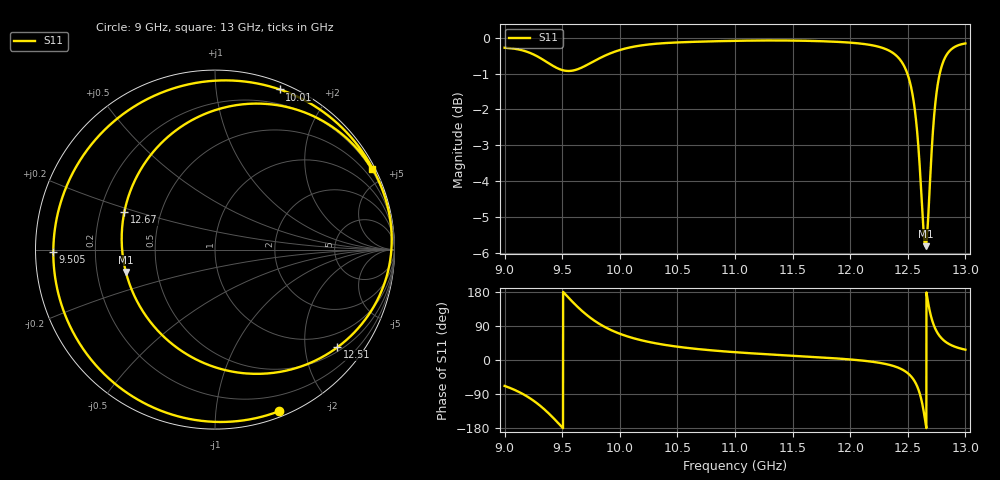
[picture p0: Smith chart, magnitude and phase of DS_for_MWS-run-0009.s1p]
! TOUCHSTONE file generated by CST DESIGN STUDIO
! Date and time: Tue Feb  4 13:14:57 2025
! Project name: C:\Work\MatlabApps\UnitCellOptimizationMatlab\CST\unitcell.cst
! Tree item: Tasks\Sweep1\SPara1\S-Parameters
! Header version: 2024
! Port assignment regex: !\s*Touchstone port\s*([0-9]+)\s*=\s*(CST MWS port|CST DES external port|CST DES block port)\s*(.+)\s* \(\"(.*)\"\)(\s*mode\s*([0-9]+))?.*
! Touchstone port assignment:
! Touchstone port 1 = CST DES external port 1 ("")
# GHz S MA R 50
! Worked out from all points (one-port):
!   4001 points, 9 GHz to 13 GHz, reference 50 ohm
!   lowest |S11| = -5.8 dB at 12.65 GHz (marker M1), VSWR 3.10, Z = 16.4 - j5.52 ohm
!   |S11| at or under -10 dB: nowhere
!   S11 on the Smith chart (normalised r, x): 9 GHz: 0.05, -1.47; 9.505 GHz: 0.05, -0.01; 10.01 GHz: 0.06, +1.48; 12.51 GHz: 0.60, -2.74; 12.67 GHz: 0.30, +0.18; 13 GHz: 0.16, +4.12
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9  0.9685 -68.4
9.166  0.9592 -91.0
9.281  0.9425 -114.1
9.382  0.9215 -140.6
9.5  0.9014 -177.7
9.505  0.901 -179.3
9.623  0.9026 143.3
9.725  0.9181 115.9
9.841  0.9392 92.0
10  0.9613 69.3
10.011  0.9624 68.0
10.222  0.9774 49.6
10.5  0.985 35.1
11  0.9901 20.6
11.5  0.9909 11.2
12  0.9844 1.4
12.35  0.9571 -13.6
12.5  0.8875 -34.8
12.514  0.8724 -38.6
12.559  0.7981 -56.0
12.6  0.6753 -84.8
12.626  0.5735 -116.1
12.654  0.5121 -165.9
12.673  0.5468 157.5
12.709  0.7032 107.1
12.748  0.8345 76.8
12.841  0.9488 45.2
13  0.9819 27.2
